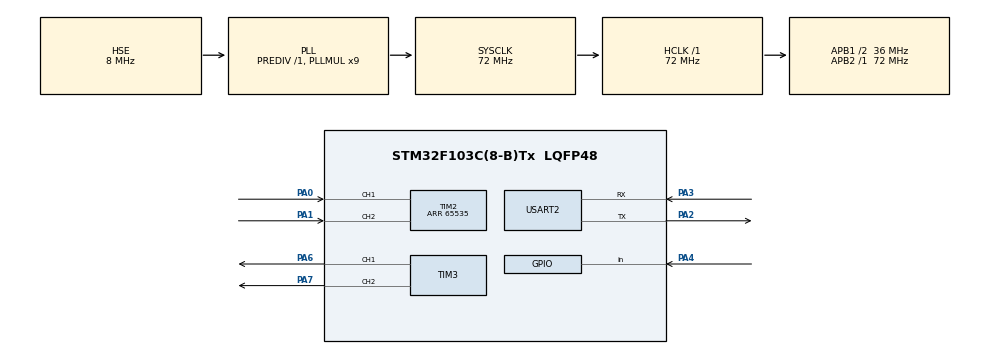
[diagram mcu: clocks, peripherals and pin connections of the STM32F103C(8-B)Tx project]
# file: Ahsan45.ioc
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Mcu.Family=STM32F1
Mcu.Name=STM32F103C(8-B)Tx
Mcu.Package=LQFP48
NVIC.PriorityGroup=NVIC_PRIORITYGROUP_4
PA0-WKUP.Signal=S_TIM2_CH1_ETR
PA1.Signal=S_TIM2_CH2
PA2.Mode=Asynchronous
PA2.Signal=USART2_TX
PA3.Mode=Asynchronous
PA3.Signal=USART2_RX
PA4.Signal=GPIO_Input
PA6.Signal=S_TIM3_CH1
PA7.Signal=S_TIM3_CH2
PD0-OSC_IN.Mode=HSE-External-Oscillator
PD0-OSC_IN.Signal=RCC_OSC_IN
PD1-OSC_OUT.Mode=HSE-External-Oscillator
PD1-OSC_OUT.Signal=RCC_OSC_OUT
ProjectManager.HeapSize=0x200
ProjectManager.StackSize=0x400
ProjectManager.TargetToolchain=MDK-ARM V5.32
RCC.AHBFreq_Value=72000000
RCC.APB1CLKDivider=RCC_HCLK_DIV2
RCC.APB1Freq_Value=36000000
RCC.APB1TimFreq_Value=72000000
RCC.APB2Freq_Value=72000000
RCC.APB2TimFreq_Value=72000000
RCC.HCLKFreq_Value=72000000
RCC.PLLMUL=RCC_PLL_MUL9
RCC.PLLSourceVirtual=RCC_PLLSOURCE_HSE
RCC.SYSCLKFreq_VALUE=72000000
RCC.SYSCLKSource=RCC_SYSCLKSOURCE_PLLCLK
RCC.USBFreq_Value=72000000
SH.S_TIM2_CH1_ETR.0=TIM2_CH1,Encoder_Interface
SH.S_TIM2_CH2.0=TIM2_CH2,Encoder_Interface
SH.S_TIM3_CH1.0=TIM3_CH1,PWM Generation1 CH1
SH.S_TIM3_CH2.0=TIM3_CH2,PWM Generation2 CH2
TIM2.AutoReloadPreload=TIM_AUTORELOAD_PRELOAD_ENABLE
TIM2.CounterMode=TIM_COUNTERMODE_UP
TIM2.EncoderMode=TIM_ENCODERMODE_TI12
TIM2.IC1Filter=0
TIM2.IC2Filter=0
TIM2.Period=65535
TIM3.Channel-PWM\ Generation1\ CH1=TIM_CHANNEL_1
TIM3.Channel-PWM\ Generation2\ CH2=TIM_CHANNEL_2
USART2.VirtualMode=VM_ASYNC
VP_SYS_VS_ND.Mode=No_Debug
board=custom

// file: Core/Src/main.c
/* USER CODE BEGIN Header */
/**
  ******************************************************************************
  * @file           : main.c
  * @brief          : Main program body
  ******************************************************************************
  * @attention
  *
  * Copyright (c) 2023 STMicroelectronics.
  * All rights reserved.
  *
  * This software is licensed under terms that can be found in the LICENSE file
  * in the root directory of this software component.
  * If no LICENSE file comes with this software, it is provided AS-IS.
  *
  ******************************************************************************
  */
/* USER CODE END Header */
#include "main.h"

/* USER CODE BEGIN Includes */
#include "stdio.h"
#include "string.h"
/* USER CODE END Includes */

TIM_HandleTypeDef htim2;
TIM_HandleTypeDef htim3;

UART_HandleTypeDef huart2;

/* USER CODE BEGIN PV */

int echo=0;
int enc01;

//Target values - Also called as setpoint!
int targetPosition =2000; //the PID will try to reach this value

//-----------------------
//Measured values
int motorPosition = 0; //position based on the encoder
//float previousMotorPosition = -1; //helps to keep track of changes (useful for the display update)
//-----------------------------------
//-----------------------------------
//PID parameters - tuned by the user
float proportional =3; //k_p = 0.5
float integral = 0.003; //k_i = 3
float derivative =130; //k_d = 1
double controlSignal = 0; //u - Also called as process variable (PV)
//-----------------------------------
//-----------------------------------
//PID-related
float previousTime = 0; //for calculating delta t
float previousError = 0; //for calculating the derivative (edot)
float errorIntegral = 0; //integral error
float currentTime = 0; //time in the moment of calculation
float deltaTime = 0; //time difference
float errorValue = 0; //error
float edot = 0; //derivative (de/dt)

/* USER CODE END PV */

void SystemClock_Config(void);
static void MX_GPIO_Init(void);
static void MX_TIM2_Init(void);
static void MX_USART2_UART_Init(void);
static void MX_TIM3_Init(void);
/* USER CODE BEGIN PFP */
void calculatePID();
/* USER CODE END PFP */

int main(void)
{
  /* USER CODE BEGIN 1 */
	uint8_t message[50] = {'\0'};

  /* USER CODE END 1 */

  /* MCU Configuration--------------------------------------------------------*/

  /* Reset of all peripherals, Initializes the Flash interface and the Systick. */
  HAL_Init();

  /* Configure the system clock */
  SystemClock_Config();

  /* Initialize all configured peripherals */
  MX_GPIO_Init();
  MX_TIM2_Init();
  MX_USART2_UART_Init();
  MX_TIM3_Init();
  /* USER CODE BEGIN 2 */

  HAL_TIM_Encoder_Start(&htim2, TIM_CHANNEL_ALL);
  HAL_TIM_PWM_Start(&htim3, TIM_CHANNEL_1);
  HAL_TIM_PWM_Start(&htim3, TIM_CHANNEL_2);
  TIM3->CCR2 = 0;
  TIM3->CCR1 = 0;
  TIM2->CNT=32768;

  /* USER CODE END 2 */

  /* Infinite loop */
  while (1)
  {

    /* USER CODE BEGIN 3 */
	  enc01=((TIM2->CNT));
	  TIM2->CNT=32768;
	  motorPosition=motorPosition+(enc01-32768);
	  //motorPosition=((TIM2->CNT));

	  //motorPosition=14;

//controlSignal=154;
	        //        sprintf(message, "Encoder Ticks = %d\n\r",motorPosition);
	                HAL_UART_Transmit(&huart2, message, sizeof(message), 100);
	                //sprintf(message, "Control Ticks = %d\n\r",controlSignal);
	                //HAL_UART_Transmit(&huart2, message, sizeof(message), 100);

	                calculatePID();

	            HAL_Delay(8);

	            if(controlSignal>=0)
	            {
	            	if((int)controlSignal>65530)
	            	{
	            		TIM3->CCR2 = 0;
	            		TIM3->CCR1 = 65535;
	            	}
	            	else
	            	{
	            		TIM3->CCR2 = 0;
	            		TIM3->CCR1 = (int)controlSignal;
	            	}
	            }
	            else
	            {
	            	if((int)controlSignal<-65530)
	            	{
	            		TIM3->CCR1 = 0;
	            		TIM3->CCR2 = 65535;
	            	}
	            	else
	            	{
	            		TIM3->CCR1 = 0;
	            		TIM3->CCR2 = -(int)controlSignal;
	            	}
	            	//TIM3->CCR1 = 0;
	            	//TIM3->CCR2 = -(int)controlSignal;

	            }

	            //TIM3->CCR2 = 32768;
	            //TIM3->CCR1 = 32768;

  }

  /* USER CODE END 3 */
}

void SystemClock_Config(void)
{
  RCC_OscInitTypeDef RCC_OscInitStruct = {0};
  RCC_ClkInitTypeDef RCC_ClkInitStruct = {0};

  /** Initializes the RCC Oscillators according to the specified parameters
  * in the RCC_OscInitTypeDef structure.
  */
  RCC_OscInitStruct.OscillatorType = RCC_OSCILLATORTYPE_HSE;
  RCC_OscInitStruct.HSEState = RCC_HSE_ON;
  RCC_OscInitStruct.HSEPredivValue = RCC_HSE_PREDIV_DIV1;
  RCC_OscInitStruct.HSIState = RCC_HSI_ON;
  RCC_OscInitStruct.PLL.PLLState = RCC_PLL_ON;
  RCC_OscInitStruct.PLL.PLLSource = RCC_PLLSOURCE_HSE;
  RCC_OscInitStruct.PLL.PLLMUL = RCC_PLL_MUL9;
  if (HAL_RCC_OscConfig(&RCC_OscInitStruct) != HAL_OK)
  {
    Error_Handler();
  }

  /** Initializes the CPU, AHB and APB buses clocks
  */
  RCC_ClkInitStruct.ClockType = RCC_CLOCKTYPE_HCLK|RCC_CLOCKTYPE_SYSCLK
                              |RCC_CLOCKTYPE_PCLK1|RCC_CLOCKTYPE_PCLK2;
  RCC_ClkInitStruct.SYSCLKSource = RCC_SYSCLKSOURCE_PLLCLK;
  RCC_ClkInitStruct.AHBCLKDivider = RCC_SYSCLK_DIV1;
  RCC_ClkInitStruct.APB1CLKDivider = RCC_HCLK_DIV2;
  RCC_ClkInitStruct.APB2CLKDivider = RCC_HCLK_DIV1;

  if (HAL_RCC_ClockConfig(&RCC_ClkInitStruct, FLASH_LATENCY_2) != HAL_OK)
  {
    Error_Handler();
  }
}

static void MX_TIM2_Init(void)
{

  TIM_Encoder_InitTypeDef sConfig = {0};
  TIM_MasterConfigTypeDef sMasterConfig = {0};

  htim2.Instance = TIM2;
  htim2.Init.Prescaler = 0;
  htim2.Init.CounterMode = TIM_COUNTERMODE_UP;
  htim2.Init.Period = 65535;
  htim2.Init.ClockDivision = TIM_CLOCKDIVISION_DIV1;
  htim2.Init.AutoReloadPreload = TIM_AUTORELOAD_PRELOAD_ENABLE;
  sConfig.EncoderMode = TIM_ENCODERMODE_TI12;
  sConfig.IC1Polarity = TIM_ICPOLARITY_RISING;
  sConfig.IC1Selection = TIM_ICSELECTION_DIRECTTI;
  sConfig.IC1Prescaler = TIM_ICPSC_DIV1;
  sConfig.IC1Filter = 0;
  sConfig.IC2Polarity = TIM_ICPOLARITY_RISING;
  sConfig.IC2Selection = TIM_ICSELECTION_DIRECTTI;
  sConfig.IC2Prescaler = TIM_ICPSC_DIV1;
  sConfig.IC2Filter = 0;
  if (HAL_TIM_Encoder_Init(&htim2, &sConfig) != HAL_OK)
  {
    Error_Handler();
  }
  sMasterConfig.MasterOutputTrigger = TIM_TRGO_RESET;
  sMasterConfig.MasterSlaveMode = TIM_MASTERSLAVEMODE_DISABLE;
  if (HAL_TIMEx_MasterConfigSynchronization(&htim2, &sMasterConfig) != HAL_OK)
  {
    Error_Handler();
  }

}

static void MX_TIM3_Init(void)
{

  TIM_MasterConfigTypeDef sMasterConfig = {0};
  TIM_OC_InitTypeDef sConfigOC = {0};

  htim3.Instance = TIM3;
  htim3.Init.Prescaler = 0;
  htim3.Init.CounterMode = TIM_COUNTERMODE_UP;
  htim3.Init.Period = 65535;
  htim3.Init.ClockDivision = TIM_CLOCKDIVISION_DIV1;
  htim3.Init.AutoReloadPreload = TIM_AUTORELOAD_PRELOAD_DISABLE;
  if (HAL_TIM_PWM_Init(&htim3) != HAL_OK)
  {
    Error_Handler();
  }
  sMasterConfig.MasterOutputTrigger = TIM_TRGO_RESET;
  sMasterConfig.MasterSlaveMode = TIM_MASTERSLAVEMODE_DISABLE;
  if (HAL_TIMEx_MasterConfigSynchronization(&htim3, &sMasterConfig) != HAL_OK)
  {
    Error_Handler();
  }
  sConfigOC.OCMode = TIM_OCMODE_PWM1;
  sConfigOC.Pulse = 0;
  sConfigOC.OCPolarity = TIM_OCPOLARITY_HIGH;
  sConfigOC.OCFastMode = TIM_OCFAST_DISABLE;
  if (HAL_TIM_PWM_ConfigChannel(&htim3, &sConfigOC, TIM_CHANNEL_1) != HAL_OK)
  {
    Error_Handler();
  }
  if (HAL_TIM_PWM_ConfigChannel(&htim3, &sConfigOC, TIM_CHANNEL_2) != HAL_OK)
  {
    Error_Handler();
  }
  HAL_TIM_MspPostInit(&htim3);

}

static void MX_USART2_UART_Init(void)
{

  huart2.Instance = USART2;
  huart2.Init.BaudRate = 115200;
  huart2.Init.WordLength = UART_WORDLENGTH_8B;
  huart2.Init.StopBits = UART_STOPBITS_1;
  huart2.Init.Parity = UART_PARITY_NONE;
  huart2.Init.Mode = UART_MODE_TX_RX;
  huart2.Init.HwFlowCtl = UART_HWCONTROL_NONE;
  huart2.Init.OverSampling = UART_OVERSAMPLING_16;
  if (HAL_UART_Init(&huart2) != HAL_OK)
  {
    Error_Handler();
  }

}

static void MX_GPIO_Init(void)
{
  GPIO_InitTypeDef GPIO_InitStruct = {0};

  /* GPIO Ports Clock Enable */
  __HAL_RCC_GPIOD_CLK_ENABLE();
  __HAL_RCC_GPIOA_CLK_ENABLE();

  /*Configure GPIO pin : PA4 */
  GPIO_InitStruct.Pin = GPIO_PIN_4;
  GPIO_InitStruct.Mode = GPIO_MODE_INPUT;
  GPIO_InitStruct.Pull = GPIO_NOPULL;
  HAL_GPIO_Init(GPIOA, &GPIO_InitStruct);

}

/* USER CODE BEGIN 4 */

void calculatePID()
{
	//int currentTime,deltaTime,previousTime,motorPosition,targetPosition
  //Determining the elapsed time
  currentTime = HAL_GetTick(); //current time
  deltaTime = (currentTime - previousTime);  //time difference in seconds
  previousTime = currentTime; //save the current time for the next iteration to get the time difference
  //---
  errorValue = motorPosition - targetPosition; //Current position - target position (or setpoint)

  edot = (errorValue - previousError) / deltaTime; //edot = de/dt - derivative term

  errorIntegral = errorIntegral + (errorValue * deltaTime); //integral term - Newton-Leibniz, notice, this is a running sum!

  controlSignal = (proportional * errorValue) + (derivative * edot) + (integral * errorIntegral); //final sum, proportional term also calculated here

  previousError = errorValue; //save the error for the next iteration to get the difference (for edot)
}

/* USER CODE END 4 */

void Error_Handler(void)
{
  __disable_irq();
  while (1)
  {
  }
}
